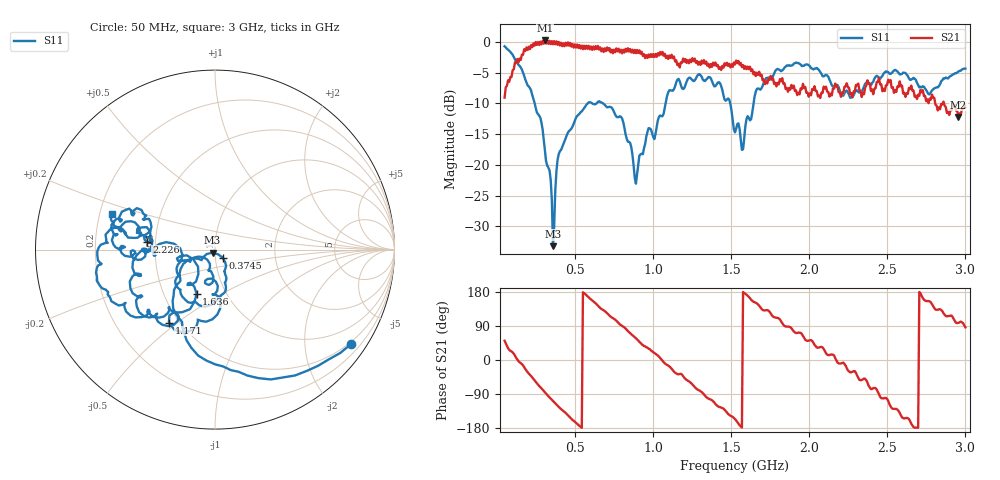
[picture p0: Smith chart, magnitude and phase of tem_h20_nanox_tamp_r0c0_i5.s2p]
! nanovna_capture.py 2026-10-26T21:56:35+0900
! NanoVNA-F_V2 fw 0.6.0 SN 4A3639384505514B
! cal: load open short thru cal'ed  over 50000000-3000000000 Hz, 201 points
! points 401, avg 4
! TEM h=20, tampered Nano X, 0 deg, centred, interleaved run T5
# HZ S RI R 50
! S12 and S22 are not measured (written as 0)
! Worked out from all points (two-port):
!   401 points, 50 MHz to 3 GHz, reference 50 ohm
!   highest |S21| = 0.25 dB at 308.1 MHz (marker M1); lowest = -12.2 dB at 2.956 GHz (marker M2)
!   |S21| within 3 dB of the highest: 154.8 MHz to 1.097 GHz (942.4 MHz wide, 151 % of centre); 1.097 GHz to 1.138 GHz (40.34 MHz wide, 3.61 % of centre) (the widest 2 of 6)
!   lowest |S11| = -33.2 dB at 359.8 MHz (marker M3), VSWR 1.04, Z = 48.6 - j1.66 ohm
!   |S11| at or under -10 dB: 242.7 MHz to 581.3 MHz (338.7 MHz wide, 82.2 % of centre); 680.9 MHz to 1.08 GHz (399.1 MHz wide, 45.3 % of centre); 1.494 GHz to 1.644 GHz (149.3 MHz wide, 9.52 % of centre) (the widest 3 of 4)
!   S12 and S22 are empty: the file has one direction only
!   S11 on the Smith chart (normalised r, x): 50 MHz: 0.44, -3.14; 374.5 MHz: 1.08, -0.10; 1.171 GHz: 0.44, -0.47; 1.636 GHz: 0.73, -0.39; 2.226 GHz: 0.45, +0.05; 3 GHz: 0.25, +0.16
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5e7  0.7587 -0.5259  0.2234 0.273  0 0  0 0
1.75375e8  -0.1582 -0.5054  0.8265 -0.2821  0 0  0 0
3.08125e8  -0.12 -0.0487  0.0836 -1.026  0 0  0 0
3.5975e8  -0.0136 -0.0171  -0.296 -0.911  0 0  0 0
3.745e8  0.0428 -0.0449  -0.3942 -0.8739  0 0  0 0
4.04e8  0.0526 -0.1182  -0.5616 -0.7497  0 0  0 0
5.44125e8  0.0169 -0.2722  -0.9343 -0.0156  0 0  0 0
6.62125e8  -0.1634 -0.2818  -0.6629 0.6151  0 0  0 0
7.80125e8  -0.199 -0.1434  -0.11 0.8751  0 0  0 0
8.9075e8  -0.0431 -0.0556  0.4344 0.6847  0 0  0 0
1.03825e9  -0.000139 -0.246  0.7671 0.1198  0 0  0 0
1.171e9  -0.2568 -0.4062  0.4947 -0.3751  0 0  0 0
1.325875e9  -0.4121 -0.2544  -0.00759 -0.712  0 0  0 0
1.525e9  -0.1815 -0.0293  -0.5991 -0.2681  0 0  0 0
1.635625e9  -0.1021 -0.247  -0.5487 0.2403  0 0  0 0
1.783125e9  -0.4429 -0.3776  -0.1759 0.4319  0 0  0 0
2.019125e9  -0.6054 0.0372  0.2642 0.3191  0 0  0 0
2.225625e9  -0.3811 0.0442  0.4255 -0.0781  0 0  0 0
2.51325e9  -0.546 0.0836  -0.2075 -0.4231  0 0  0 0
2.712375e9  -0.3909 0.1852  -0.4073 0.0305  0 0  0 0
2.95575e9  -0.5605 0.1302  -0.0343 0.2432  0 0  0 0
3e9  -0.575 0.1977  0.0191 0.2944  0 0  0 0
